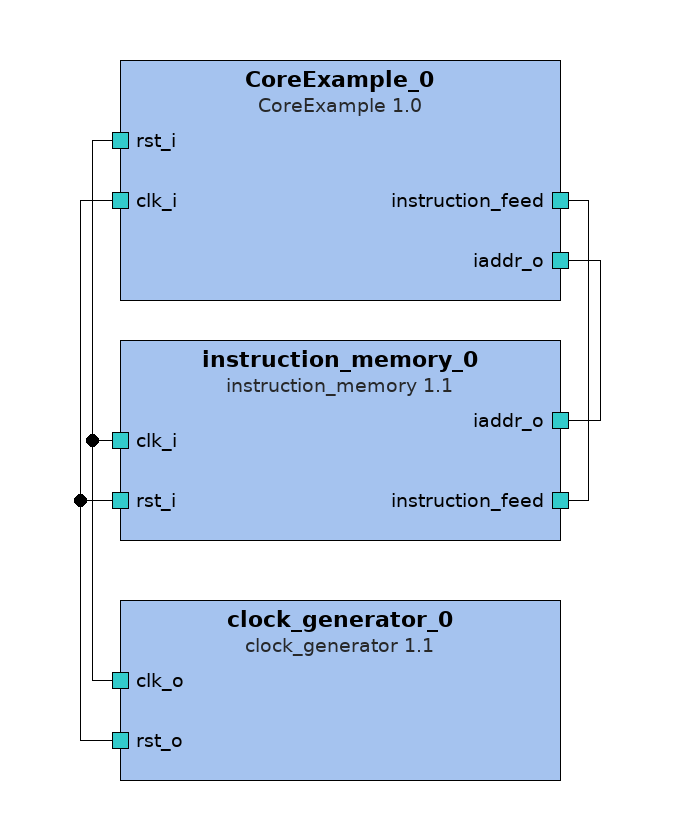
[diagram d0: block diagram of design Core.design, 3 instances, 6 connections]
<?xml version="1.0" encoding="UTF-8"?>
<ipxact:design xmlns:xsi="http://www.w3.org/2001/XMLSchema-instance" xmlns:ipxact="http://www.accellera.org/XMLSchema/IPXACT/1685-2014" xmlns:kactus2="http://kactus2.cs.tut.fi" xsi:schemaLocation="http://www.accellera.org/XMLSchema/IPXACT/1685-2014/ http://www.accellera.org/XMLSchema/IPXACT/1685-2014/index.xsd"><ipxact:vendor>tut.fi</ipxact:vendor><ipxact:library>testBench</ipxact:library><ipxact:name>Core.design</ipxact:name>
 <ipxact:version>1.0</ipxact:version><ipxact:componentInstances>
 <ipxact:componentInstance><ipxact:instanceName>CoreExample_0</ipxact:instanceName><ipxact:componentRef vendor="tut.fi" library="core" name="CoreExample" version="1.0"><ipxact:configurableElementValues><ipxact:configurableElementValue referenceId="uuid_240da555_796c_42e9_b09d_9769b11e8ac7">16</ipxact:configurableElementValue></ipxact:configurableElementValues></ipxact:componentRef></ipxact:componentInstance>
 <ipxact:componentInstance><ipxact:instanceName>instruction_memory_0</ipxact:instanceName><ipxact:componentRef vendor="tut.fi" library="testBench" name="instruction_memory" version="1.1"/></ipxact:componentInstance>
 <ipxact:componentInstance><ipxact:instanceName>clock_generator_0</ipxact:instanceName><ipxact:componentRef vendor="tut.fi" library="testBench" name="clock_generator" version="1.1"/></ipxact:componentInstance>
</ipxact:componentInstances><ipxact:adHocConnections>
 <ipxact:adHocConnection><ipxact:name>clock_generator_0_rst_o_to_instruction_memory_0_rst_i</ipxact:name><ipxact:portReferences><ipxact:internalPortReference componentRef="clock_generator_0" portRef="rst_o"/><ipxact:internalPortReference componentRef="instruction_memory_0" portRef="rst_i"/></ipxact:portReferences></ipxact:adHocConnection>
 <ipxact:adHocConnection><ipxact:name>clock_generator_0_rst_o_to_CoreExample_0_clk_i</ipxact:name><ipxact:portReferences><ipxact:internalPortReference componentRef="clock_generator_0" portRef="rst_o"/><ipxact:internalPortReference componentRef="CoreExample_0" portRef="clk_i"/></ipxact:portReferences></ipxact:adHocConnection>
 <ipxact:adHocConnection><ipxact:name>clock_generator_0_clk_o_to_instruction_memory_0_clk_i</ipxact:name><ipxact:portReferences><ipxact:internalPortReference componentRef="clock_generator_0" portRef="clk_o"/><ipxact:internalPortReference componentRef="instruction_memory_0" portRef="clk_i"/></ipxact:portReferences></ipxact:adHocConnection>
 <ipxact:adHocConnection><ipxact:name>clock_generator_0_clk_o_to_CoreExample_0_rst_i</ipxact:name><ipxact:portReferences><ipxact:internalPortReference componentRef="clock_generator_0" portRef="clk_o"/><ipxact:internalPortReference componentRef="CoreExample_0" portRef="rst_i"/></ipxact:portReferences></ipxact:adHocConnection>
 <ipxact:adHocConnection><ipxact:name>instruction_memory_0_iaddr_o_to_CoreExample_0_iaddr_o</ipxact:name><ipxact:portReferences><ipxact:internalPortReference componentRef="instruction_memory_0" portRef="iaddr_o"/><ipxact:internalPortReference componentRef="CoreExample_0" portRef="iaddr_o"/></ipxact:portReferences></ipxact:adHocConnection>
 <ipxact:adHocConnection><ipxact:name>instruction_memory_0_instruction_feed_to_CoreExample_0_instruction_feed</ipxact:name><ipxact:portReferences><ipxact:internalPortReference componentRef="instruction_memory_0" portRef="instruction_feed"/><ipxact:internalPortReference componentRef="CoreExample_0" portRef="instruction_feed"/></ipxact:portReferences></ipxact:adHocConnection>
</ipxact:adHocConnections></ipxact:design>

